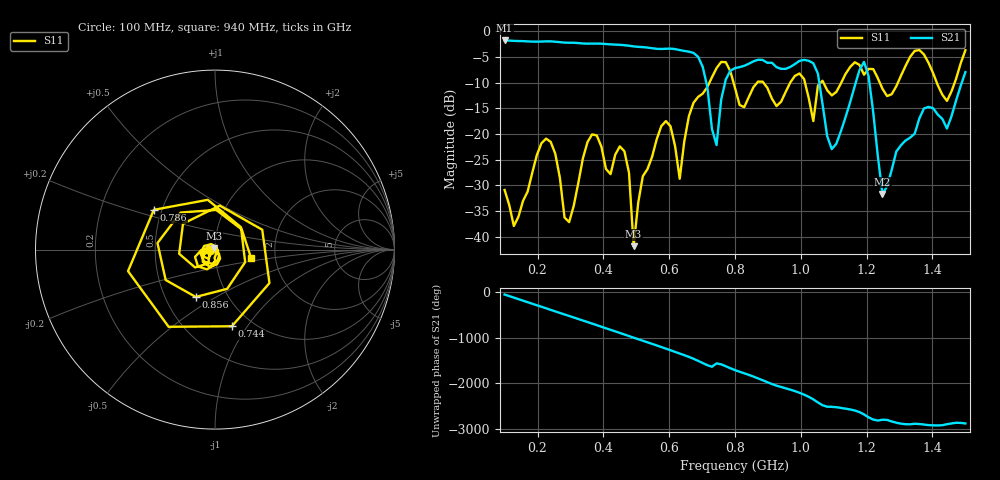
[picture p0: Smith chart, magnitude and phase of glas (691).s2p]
! NanoVNA-App
! Date: 2025-09-25 16:00:51
! Start: 100MHz Stop: 1,5GHz Points: 101
! S-Parameter data: F S11 S21 S12 S22
# Hz S RI R 50
!  Frequency  S11_Real  S11_Imag  S21_Real  S21_Imag  S12_Real  S12_Imag  S22_Real  S22_Imag
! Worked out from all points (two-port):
!   101 points, 100 MHz to 1.5 GHz, reference 50 ohm
!   highest |S21| = -1.80 dB at 100 MHz (marker M1); lowest = -31.7 dB at 1.248 GHz (marker M2)
!   |S21| within 3 dB of the highest: start of sweep to 684.5 MHz
!   lowest |S11| = -41.9 dB at 492 MHz (marker M3), VSWR 1.02, Z = 49.5 + j0.616 ohm
!   |S11| at or under -10 dB: start of sweep to 722.5 MHz; 795.5 MHz to 867.7 MHz (72.22 MHz wide, 8.69 % of centre); 886 MHz to 967.9 MHz (81.84 MHz wide, 8.83 % of centre) (the widest 3 of 7)
!   S12 and S22 are empty: the file has one direction only
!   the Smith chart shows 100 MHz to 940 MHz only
!   S11 on the Smith chart (normalised r, x): 100 MHz: 0.94, -0.01; 744 MHz: 0.81, -0.85; 786 MHz: 0.45, +0.24; 856 MHz: 0.71, -0.41; 940 MHz: 1.49, -0.14
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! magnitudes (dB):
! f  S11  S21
! 100 MHz  -30.9  -1.8
! 128 MHz  -37.9  -1.9
! 226 MHz  -20.9  -2.0
! 296 MHz  -37.2  -2.2
! 338 MHz  -24.7  -2.4
! 464 MHz  -23.4  -2.7
! 492 MHz  -41.9  -3.0
! 576 MHz  -18.5  -3.5
! 632 MHz  -28.7  -3.7
! 702 MHz  -12.2  -7.0
! 744 MHz  -7.2  -22.2
! 786 MHz  -7.8  -7.7
! 800 MHz  -11.1  -7.2
! 856 MHz  -10.9  -5.9
! 940 MHz  -13.7  -7.3
! 1.038 GHz  -17.5  -6.2
! 1.094 GHz  -12.5  -23.0
! 1.192 GHz  -8.5  -6.0
! 1.248 GHz  -11.2  -31.7
! 1.276 GHz  -12.3  -27.0
! 1.444 GHz  -13.6  -19.0
! 1.5 GHz  -3.7  -8.0
